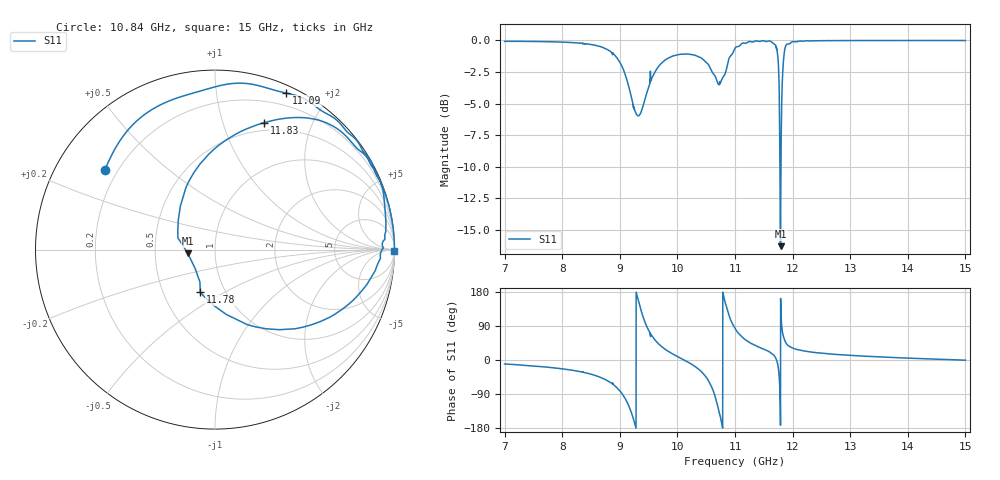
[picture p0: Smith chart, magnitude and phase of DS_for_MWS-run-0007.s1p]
! TOUCHSTONE file generated by CST DESIGN STUDIO
! Date and time: Mon Feb 10 16:55:55 2025
! Project name: C:\Work\MatlabApps\UnitCellType2OptimizationMatlab\CST\unitcell.cst
! Tree item: Tasks\Sweep1\SPara1\S-Parameters
! Header version: 2024
! Port assignment regex: !\s*Touchstone port\s*([0-9]+)\s*=\s*(CST MWS port|CST DES external port|CST DES block port)\s*(.+)\s* \(\"(.*)\"\)(\s*mode\s*([0-9]+))?.*
! Touchstone port assignment:
! Touchstone port 1 = CST DES external port 1 ("")
# GHz S MA R 50
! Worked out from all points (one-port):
!   4001 points, 7 GHz to 15 GHz, reference 50 ohm
!   lowest |S11| = -16.3 dB at 11.79 GHz (marker M1), VSWR 1.36, Z = 36.8 - j1.56 ohm
!   |S11| at or under -10 dB: 11.77983 GHz to 11.79821 GHz (18.38 MHz wide, 0.156 % of centre)
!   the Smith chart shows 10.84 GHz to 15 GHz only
!   S11 on the Smith chart (normalised r, x): 10.84 GHz: 0.15, +0.32; 11.09 GHz: 0.07, +1.55; 11.78 GHz: 0.76, -0.39; 11.83 GHz: 0.41, +1.38; 15 GHz: open
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7  0.9917 -10.4
8  0.9852 -23.2
8.646  0.9474 -44.7
9  0.82 -81.3
9.132  0.6869 -113.0
9.26  0.5279 -167.6
9.376  0.5254 127.3
9.472  0.6233 87.1
9.698  0.8017 39.1
10  0.8768 9.2
10.404  0.8553 -29.0
10.63  0.735 -84.4
10.76  0.6903 -160.4
10.844  0.7573 144.2
10.914  0.863 109.9
11  0.9311 83.9
11.092  0.9585 65.6
11.29  0.9864 42.9
11.684  0.9675 10.6
11.748  0.8421 -16.8
11.784  0.252 -109.0
11.79  0.153 -172.2
11.83  0.7593 68.8
11.892  0.9617 43.3
12  0.9894 31.6
13  0.9987 12.1
14  0.9998 5.0
15  0.9992 -0.5
